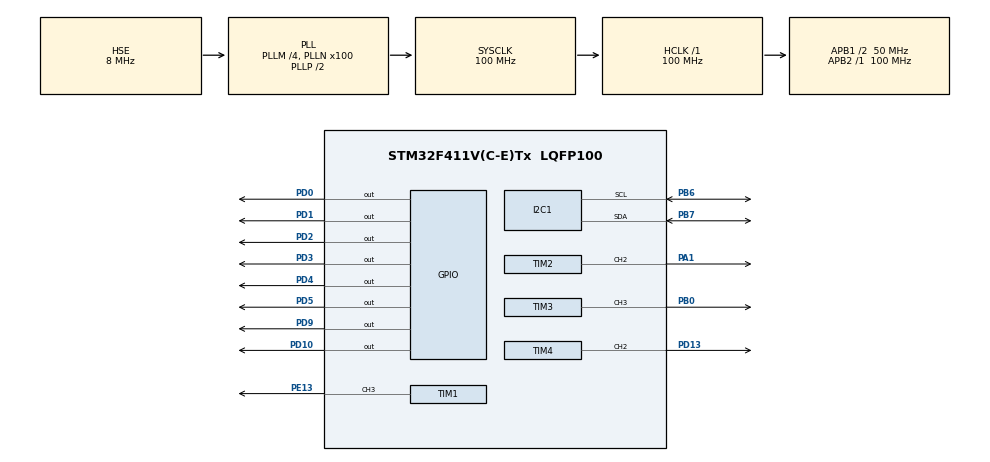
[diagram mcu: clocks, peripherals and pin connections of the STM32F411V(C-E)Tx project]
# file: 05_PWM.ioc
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Dma.Request0=TIM4_CH2
Dma.Request1=TIM1_CH3
Dma.Request2=TIM2_CH2/CH4
Dma.Request3=TIM3_CH3
Dma.TIM1_CH3.1.Direction=DMA_MEMORY_TO_PERIPH
Dma.TIM1_CH3.1.FIFOMode=DMA_FIFOMODE_DISABLE
Dma.TIM1_CH3.1.Instance=DMA2_Stream6
Dma.TIM1_CH3.1.MemDataAlignment=DMA_MDATAALIGN_HALFWORD
Dma.TIM1_CH3.1.MemInc=DMA_MINC_ENABLE
Dma.TIM1_CH3.1.Mode=DMA_CIRCULAR
Dma.TIM1_CH3.1.PeriphDataAlignment=DMA_PDATAALIGN_HALFWORD
Dma.TIM1_CH3.1.PeriphInc=DMA_PINC_DISABLE
Dma.TIM1_CH3.1.Priority=DMA_PRIORITY_LOW
Dma.TIM2_CH2/CH4.2.Direction=DMA_MEMORY_TO_PERIPH
Dma.TIM2_CH2/CH4.2.FIFOMode=DMA_FIFOMODE_DISABLE
Dma.TIM2_CH2/CH4.2.Instance=DMA1_Stream6
Dma.TIM2_CH2/CH4.2.MemDataAlignment=DMA_MDATAALIGN_WORD
Dma.TIM2_CH2/CH4.2.MemInc=DMA_MINC_ENABLE
Dma.TIM2_CH2/CH4.2.Mode=DMA_CIRCULAR
Dma.TIM2_CH2/CH4.2.PeriphDataAlignment=DMA_PDATAALIGN_WORD
Dma.TIM2_CH2/CH4.2.PeriphInc=DMA_PINC_DISABLE
Dma.TIM2_CH2/CH4.2.Priority=DMA_PRIORITY_LOW
Dma.TIM3_CH3.3.Direction=DMA_MEMORY_TO_PERIPH
Dma.TIM3_CH3.3.FIFOMode=DMA_FIFOMODE_DISABLE
Dma.TIM3_CH3.3.Instance=DMA1_Stream7
Dma.TIM3_CH3.3.MemDataAlignment=DMA_MDATAALIGN_HALFWORD
Dma.TIM3_CH3.3.MemInc=DMA_MINC_ENABLE
Dma.TIM3_CH3.3.Mode=DMA_NORMAL
Dma.TIM3_CH3.3.PeriphDataAlignment=DMA_PDATAALIGN_HALFWORD
Dma.TIM3_CH3.3.PeriphInc=DMA_PINC_DISABLE
Dma.TIM3_CH3.3.Priority=DMA_PRIORITY_LOW
Dma.TIM4_CH2.0.Direction=DMA_MEMORY_TO_PERIPH
Dma.TIM4_CH2.0.FIFOMode=DMA_FIFOMODE_DISABLE
Dma.TIM4_CH2.0.Instance=DMA1_Stream3
Dma.TIM4_CH2.0.MemDataAlignment=DMA_MDATAALIGN_HALFWORD
Dma.TIM4_CH2.0.MemInc=DMA_MINC_ENABLE
Dma.TIM4_CH2.0.Mode=DMA_CIRCULAR
Dma.TIM4_CH2.0.PeriphDataAlignment=DMA_PDATAALIGN_HALFWORD
Dma.TIM4_CH2.0.PeriphInc=DMA_PINC_DISABLE
Dma.TIM4_CH2.0.Priority=DMA_PRIORITY_LOW
I2C1.I2C_Mode=I2C_Standard
I2C1.OwnAddress=0x36
Mcu.Family=STM32F4
Mcu.Name=STM32F411V(C-E)Tx
Mcu.Package=LQFP100
NVIC.DMA1_Stream3_IRQn=true\:0\:0\:false\:false\:true\:false\:true
NVIC.DMA1_Stream6_IRQn=true\:0\:0\:false\:false\:true\:false\:true
NVIC.DMA1_Stream7_IRQn=true\:0\:0\:false\:false\:true\:false\:true
NVIC.DMA2_Stream6_IRQn=true\:0\:0\:false\:false\:true\:false\:true
NVIC.PriorityGroup=NVIC_PRIORITYGROUP_4
NVIC.TIM1_UP_TIM10_IRQn=true\:0\:0\:false\:false\:true\:true\:true
NVIC.TIM4_IRQn=true\:0\:0\:false\:false\:true\:true\:true
PA1.Signal=S_TIM2_CH2
PB0.Signal=S_TIM3_CH3
PB6.Mode=I2C
PB6.Signal=I2C1_SCL
PB7.Mode=I2C
PB7.Signal=I2C1_SDA
PD0.Signal=GPIO_Output
PD1.Signal=GPIO_Output
PD10.Signal=GPIO_Output
PD13.Signal=S_TIM4_CH2
PD2.Signal=GPIO_Output
PD3.Signal=GPIO_Output
PD4.Signal=GPIO_Output
PD5.Signal=GPIO_Output
PD9.Signal=GPIO_Output
PE13.Signal=S_TIM1_CH3
PH0\ -\ OSC_IN.Mode=HSE-External-Oscillator
PH0\ -\ OSC_IN.Signal=RCC_OSC_IN
PH1\ -\ OSC_OUT.Mode=HSE-External-Oscillator
PH1\ -\ OSC_OUT.Signal=RCC_OSC_OUT
ProjectManager.HeapSize=0x200
ProjectManager.StackSize=0x400
ProjectManager.TargetToolchain=STM32CubeIDE
RCC.48MHZClocksFreq_Value=50000000
RCC.AHBFreq_Value=100000000
RCC.APB1CLKDivider=RCC_HCLK_DIV2
RCC.APB1Freq_Value=50000000
RCC.APB1TimFreq_Value=100000000
RCC.APB2Freq_Value=100000000
RCC.APB2TimFreq_Value=100000000
RCC.CortexFreq_Value=100000000
RCC.HCLKFreq_Value=100000000
RCC.HSE_VALUE=8000000
RCC.HSI_VALUE=16000000
RCC.LSE_VALUE=32768
RCC.PLLM=4
RCC.PLLN=100
RCC.PLLSourceVirtual=RCC_PLLSOURCE_HSE
RCC.SYSCLKFreq_VALUE=100000000
RCC.SYSCLKSource=RCC_SYSCLKSOURCE_PLLCLK
RCC.VCOOutputFreq_Value=200000000
SH.S_TIM1_CH3.0=TIM1_CH3,PWM Generation3 CH3
SH.S_TIM2_CH2.0=TIM2_CH2,PWM Generation2 CH2
SH.S_TIM3_CH3.0=TIM3_CH3,PWM Generation3 CH3
SH.S_TIM4_CH2.0=TIM4_CH2,PWM Generation2 CH2
TIM1.Channel-PWM\ Generation3\ CH3=TIM_CHANNEL_3
TIM1.Period=999
TIM1.Prescaler=999
TIM10.Period=99
TIM10.Prescaler=999
TIM2.Channel-PWM\ Generation2\ CH2=TIM_CHANNEL_2
TIM2.Period=999
TIM2.Prescaler=499
TIM3.Channel-PWM\ Generation3\ CH3=TIM_CHANNEL_3
TIM3.Period=999
TIM3.Prescaler=499
TIM4.Channel-PWM\ Generation2\ CH2=TIM_CHANNEL_2
TIM4.Period=999
TIM4.Prescaler=499
VP_TIM10_VS_ClockSourceINT.Mode=Enable_Timer
VP_TIM1_VS_ClockSourceINT.Mode=Internal
VP_TIM2_VS_ClockSourceINT.Mode=Internal
VP_TIM3_VS_ClockSourceINT.Mode=Internal
VP_TIM4_VS_ClockSourceINT.Mode=Internal
board=custom

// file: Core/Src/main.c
/* USER CODE BEGIN Header */
/**
  ******************************************************************************
  * @file           : main.c
  * @brief          : Main program body
  ******************************************************************************
  * @attention
  *
  * <h2><center>&copy; Copyright (c) 2021 STMicroelectronics.
  * All rights reserved.</center></h2>
  *
  * This software component is licensed by ST under BSD 3-Clause license,
  * the "License"; You may not use this file except in compliance with the
  * License. You may obtain a copy of the License at:
  *                        opensource.org/licenses/BSD-3-Clause
  *
  ******************************************************************************
  */
/* USER CODE END Header */
#include "main.h"

/* USER CODE BEGIN Includes */
#include "pid.h"
/* USER CODE END Includes */

/* USER CODE BEGIN PD */
# define Slave_Addr (0x36<<1)
# define Write_Bit 0
# define Read_Bit 1
# define Angle_Hight_Register_Addr 0x0C
# define Angle_Low_Register_Addr 0x0D

/* USER CODE END PD */

I2C_HandleTypeDef hi2c1;

TIM_HandleTypeDef htim1;
TIM_HandleTypeDef htim2;
TIM_HandleTypeDef htim3;
TIM_HandleTypeDef htim4;
TIM_HandleTypeDef htim10;
DMA_HandleTypeDef hdma_tim1_ch3;
DMA_HandleTypeDef hdma_tim2_ch2_ch4;
DMA_HandleTypeDef hdma_tim3_ch3;
DMA_HandleTypeDef hdma_tim4_ch2;

/* USER CODE BEGIN PV */
uint16_t Duty = 50; // Wypelnienie sygnalu PWM
uint8_t data [2];
uint16_t wynik;

//cpid_t pid;
/* USER CODE END PV */

void SystemClock_Config(void);
static void MX_GPIO_Init(void);
static void MX_DMA_Init(void);
static void MX_TIM4_Init(void);
static void MX_TIM10_Init(void);
static void MX_TIM1_Init(void);
static void MX_TIM2_Init(void);
static void MX_TIM3_Init(void);
static void MX_I2C1_Init(void);
/* USER CODE BEGIN PFP */

void STOP(){
	 HAL_GPIO_WritePin(GPIOD, GPIO_PIN_9, 0);
	 HAL_GPIO_WritePin(GPIOD, GPIO_PIN_10, 0);
	 HAL_GPIO_WritePin(GPIOD, GPIO_PIN_0, 0);
	 HAL_GPIO_WritePin(GPIOD, GPIO_PIN_1, 0);
	 HAL_GPIO_WritePin(GPIOD, GPIO_PIN_2, 0);
	 HAL_GPIO_WritePin(GPIOD, GPIO_PIN_3, 0);
	 HAL_GPIO_WritePin(GPIOD, GPIO_PIN_4, 0);
	 HAL_GPIO_WritePin(GPIOD, GPIO_PIN_5, 0);
}

void RUN1(){
	 HAL_GPIO_WritePin(GPIOD, GPIO_PIN_9, 0);
	  HAL_GPIO_WritePin(GPIOD, GPIO_PIN_10, 1);
	 HAL_GPIO_WritePin(GPIOD, GPIO_PIN_0, 0);
	 HAL_GPIO_WritePin(GPIOD, GPIO_PIN_1, 1);
	 HAL_GPIO_WritePin(GPIOD, GPIO_PIN_2, 0);
	 HAL_GPIO_WritePin(GPIOD, GPIO_PIN_3, 1);
	 HAL_GPIO_WritePin(GPIOD, GPIO_PIN_4, 0);
	 HAL_GPIO_WritePin(GPIOD, GPIO_PIN_5, 1);
}

void RUN2(){
	 HAL_GPIO_WritePin(GPIOD, GPIO_PIN_9, 1);
	 HAL_GPIO_WritePin(GPIOD, GPIO_PIN_10, 0);
	 HAL_GPIO_WritePin(GPIOD, GPIO_PIN_0, 1);
	 HAL_GPIO_WritePin(GPIOD, GPIO_PIN_1, 0);
	 HAL_GPIO_WritePin(GPIOD, GPIO_PIN_2, 1);
	 HAL_GPIO_WritePin(GPIOD, GPIO_PIN_3, 0);
	 HAL_GPIO_WritePin(GPIOD, GPIO_PIN_4, 1);
	 HAL_GPIO_WritePin(GPIOD, GPIO_PIN_5, 0);
}
/* USER CODE END PFP */

int main(void)
{

  /* MCU Configuration--------------------------------------------------------*/

  /* Reset of all peripherals, Initializes the Flash interface and the Systick. */
  HAL_Init();

  /* Configure the system clock */
  SystemClock_Config();

  /* Initialize all configured peripherals */
  MX_GPIO_Init();
  MX_DMA_Init();
  MX_TIM4_Init();
  MX_TIM10_Init();
  MX_TIM1_Init();
  MX_TIM2_Init();
  MX_TIM3_Init();
  MX_I2C1_Init();
  /* USER CODE BEGIN 2 */
  HAL_TIM_Base_Start_IT(&htim10);
  HAL_TIM_PWM_Start_DMA(&htim2, TIM_CHANNEL_2, &Duty, 1);
  HAL_TIM_PWM_Start_DMA(&htim1, TIM_CHANNEL_3, &Duty, 1);
  HAL_TIM_PWM_Start_DMA(&htim3, TIM_CHANNEL_3, &Duty, 1);
  HAL_TIM_PWM_Start_DMA(&htim4, TIM_CHANNEL_2, &Duty, 1);
/*
  pid_init(&pid, 2.0f, 5.0f, 2.0f, 10, 10);
  	pid.p_max = pid_scale(&pid, 999);
  	pid.p_min = pid_scale(&pid, -999);
  	pid.i_max = pid_scale(&pid, 999);
  	pid.i_min = pid_scale(&pid, -999);
  	pid.d_max = pid_scale(&pid, 999);
  	pid.d_min = pid_scale(&pid, -999);
  	pid.total_max = pid_scale(&pid, 999);
  	pid.total_min = pid_scale(&pid, 0);
*/
  	STOP();
  	HAL_Delay(1000);

  /* USER CODE END 2 */

  /* Infinite loop */
  /* USER CODE BEGIN WHILE */
  while (1)
  {

	  HAL_I2C_Mem_Read(&hi2c1, Slave_Addr, Angle_Hight_Register_Addr, 1, data, 2, 100);
	  wynik=data[0]<<8 | data[1];
	  //HAL_Delay(500);
	  //Duty = pid_calc(&pid, wynik, 1212);

if(wynik>1220 && wynik<1235){
Duty=700;
RUN1();
}
else if (wynik>=1235 && wynik<1475){
Duty=1000;
RUN1();
}
else if (wynik>=1475 && wynik<1600){
Duty=1000;
RUN1();
}
else if(wynik<1200 && wynik>1190){
Duty=700;
RUN2();
}
else if (wynik>940 && wynik<=1190){
Duty=1000;
RUN2();
}
else if (wynik>830 && wynik<=940){
Duty=1000;
RUN2();
}
else{
	STOP();
}

    /* USER CODE END WHILE */

  }
}

void SystemClock_Config(void)
{
  RCC_OscInitTypeDef RCC_OscInitStruct = {0};
  RCC_ClkInitTypeDef RCC_ClkInitStruct = {0};

  /** Configure the main internal regulator output voltage
  */
  __HAL_RCC_PWR_CLK_ENABLE();
  __HAL_PWR_VOLTAGESCALING_CONFIG(PWR_REGULATOR_VOLTAGE_SCALE1);
  /** Initializes the RCC Oscillators according to the specified parameters
  * in the RCC_OscInitTypeDef structure.
  */
  RCC_OscInitStruct.OscillatorType = RCC_OSCILLATORTYPE_HSE;
  RCC_OscInitStruct.HSEState = RCC_HSE_ON;
  RCC_OscInitStruct.PLL.PLLState = RCC_PLL_ON;
  RCC_OscInitStruct.PLL.PLLSource = RCC_PLLSOURCE_HSE;
  RCC_OscInitStruct.PLL.PLLM = 4;
  RCC_OscInitStruct.PLL.PLLN = 100;
  RCC_OscInitStruct.PLL.PLLP = RCC_PLLP_DIV2;
  RCC_OscInitStruct.PLL.PLLQ = 4;
  if (HAL_RCC_OscConfig(&RCC_OscInitStruct) != HAL_OK)
  {
    Error_Handler();
  }
  /** Initializes the CPU, AHB and APB buses clocks
  */
  RCC_ClkInitStruct.ClockType = RCC_CLOCKTYPE_HCLK|RCC_CLOCKTYPE_SYSCLK
                              |RCC_CLOCKTYPE_PCLK1|RCC_CLOCKTYPE_PCLK2;
  RCC_ClkInitStruct.SYSCLKSource = RCC_SYSCLKSOURCE_PLLCLK;
  RCC_ClkInitStruct.AHBCLKDivider = RCC_SYSCLK_DIV1;
  RCC_ClkInitStruct.APB1CLKDivider = RCC_HCLK_DIV2;
  RCC_ClkInitStruct.APB2CLKDivider = RCC_HCLK_DIV1;

  if (HAL_RCC_ClockConfig(&RCC_ClkInitStruct, FLASH_LATENCY_3) != HAL_OK)
  {
    Error_Handler();
  }
}

static void MX_I2C1_Init(void)
{

  hi2c1.Instance = I2C1;
  hi2c1.Init.ClockSpeed = 100000;
  hi2c1.Init.DutyCycle = I2C_DUTYCYCLE_2;
  hi2c1.Init.OwnAddress1 = 108;
  hi2c1.Init.AddressingMode = I2C_ADDRESSINGMODE_7BIT;
  hi2c1.Init.DualAddressMode = I2C_DUALADDRESS_DISABLE;
  hi2c1.Init.OwnAddress2 = 0;
  hi2c1.Init.GeneralCallMode = I2C_GENERALCALL_DISABLE;
  hi2c1.Init.NoStretchMode = I2C_NOSTRETCH_DISABLE;
  if (HAL_I2C_Init(&hi2c1) != HAL_OK)
  {
    Error_Handler();
  }

}

static void MX_TIM1_Init(void)
{

  TIM_ClockConfigTypeDef sClockSourceConfig = {0};
  TIM_MasterConfigTypeDef sMasterConfig = {0};
  TIM_OC_InitTypeDef sConfigOC = {0};
  TIM_BreakDeadTimeConfigTypeDef sBreakDeadTimeConfig = {0};

  htim1.Instance = TIM1;
  htim1.Init.Prescaler = 999;
  htim1.Init.CounterMode = TIM_COUNTERMODE_UP;
  htim1.Init.Period = 999;
  htim1.Init.ClockDivision = TIM_CLOCKDIVISION_DIV1;
  htim1.Init.RepetitionCounter = 0;
  htim1.Init.AutoReloadPreload = TIM_AUTORELOAD_PRELOAD_DISABLE;
  if (HAL_TIM_Base_Init(&htim1) != HAL_OK)
  {
    Error_Handler();
  }
  sClockSourceConfig.ClockSource = TIM_CLOCKSOURCE_INTERNAL;
  if (HAL_TIM_ConfigClockSource(&htim1, &sClockSourceConfig) != HAL_OK)
  {
    Error_Handler();
  }
  if (HAL_TIM_PWM_Init(&htim1) != HAL_OK)
  {
    Error_Handler();
  }
  sMasterConfig.MasterOutputTrigger = TIM_TRGO_RESET;
  sMasterConfig.MasterSlaveMode = TIM_MASTERSLAVEMODE_DISABLE;
  if (HAL_TIMEx_MasterConfigSynchronization(&htim1, &sMasterConfig) != HAL_OK)
  {
    Error_Handler();
  }
  sConfigOC.OCMode = TIM_OCMODE_PWM1;
  sConfigOC.Pulse = 0;
  sConfigOC.OCPolarity = TIM_OCPOLARITY_HIGH;
  sConfigOC.OCNPolarity = TIM_OCNPOLARITY_HIGH;
  sConfigOC.OCFastMode = TIM_OCFAST_DISABLE;
  sConfigOC.OCIdleState = TIM_OCIDLESTATE_RESET;
  sConfigOC.OCNIdleState = TIM_OCNIDLESTATE_RESET;
  if (HAL_TIM_PWM_ConfigChannel(&htim1, &sConfigOC, TIM_CHANNEL_3) != HAL_OK)
  {
    Error_Handler();
  }
  sBreakDeadTimeConfig.OffStateRunMode = TIM_OSSR_DISABLE;
  sBreakDeadTimeConfig.OffStateIDLEMode = TIM_OSSI_DISABLE;
  sBreakDeadTimeConfig.LockLevel = TIM_LOCKLEVEL_OFF;
  sBreakDeadTimeConfig.DeadTime = 0;
  sBreakDeadTimeConfig.BreakState = TIM_BREAK_DISABLE;
  sBreakDeadTimeConfig.BreakPolarity = TIM_BREAKPOLARITY_HIGH;
  sBreakDeadTimeConfig.AutomaticOutput = TIM_AUTOMATICOUTPUT_DISABLE;
  if (HAL_TIMEx_ConfigBreakDeadTime(&htim1, &sBreakDeadTimeConfig) != HAL_OK)
  {
    Error_Handler();
  }
  HAL_TIM_MspPostInit(&htim1);

}

static void MX_TIM2_Init(void)
{

  TIM_ClockConfigTypeDef sClockSourceConfig = {0};
  TIM_MasterConfigTypeDef sMasterConfig = {0};
  TIM_OC_InitTypeDef sConfigOC = {0};

  htim2.Instance = TIM2;
  htim2.Init.Prescaler = 499;
  htim2.Init.CounterMode = TIM_COUNTERMODE_UP;
  htim2.Init.Period = 999;
  htim2.Init.ClockDivision = TIM_CLOCKDIVISION_DIV1;
  htim2.Init.AutoReloadPreload = TIM_AUTORELOAD_PRELOAD_DISABLE;
  if (HAL_TIM_Base_Init(&htim2) != HAL_OK)
  {
    Error_Handler();
  }
  sClockSourceConfig.ClockSource = TIM_CLOCKSOURCE_INTERNAL;
  if (HAL_TIM_ConfigClockSource(&htim2, &sClockSourceConfig) != HAL_OK)
  {
    Error_Handler();
  }
  if (HAL_TIM_PWM_Init(&htim2) != HAL_OK)
  {
    Error_Handler();
  }
  sMasterConfig.MasterOutputTrigger = TIM_TRGO_RESET;
  sMasterConfig.MasterSlaveMode = TIM_MASTERSLAVEMODE_DISABLE;
  if (HAL_TIMEx_MasterConfigSynchronization(&htim2, &sMasterConfig) != HAL_OK)
  {
    Error_Handler();
  }
  sConfigOC.OCMode = TIM_OCMODE_PWM1;
  sConfigOC.Pulse = 0;
  sConfigOC.OCPolarity = TIM_OCPOLARITY_HIGH;
  sConfigOC.OCFastMode = TIM_OCFAST_DISABLE;
  if (HAL_TIM_PWM_ConfigChannel(&htim2, &sConfigOC, TIM_CHANNEL_2) != HAL_OK)
  {
    Error_Handler();
  }
  HAL_TIM_MspPostInit(&htim2);

}

static void MX_TIM3_Init(void)
{

  TIM_ClockConfigTypeDef sClockSourceConfig = {0};
  TIM_MasterConfigTypeDef sMasterConfig = {0};
  TIM_OC_InitTypeDef sConfigOC = {0};

  htim3.Instance = TIM3;
  htim3.Init.Prescaler = 499;
  htim3.Init.CounterMode = TIM_COUNTERMODE_UP;
  htim3.Init.Period = 999;
  htim3.Init.ClockDivision = TIM_CLOCKDIVISION_DIV1;
  htim3.Init.AutoReloadPreload = TIM_AUTORELOAD_PRELOAD_DISABLE;
  if (HAL_TIM_Base_Init(&htim3) != HAL_OK)
  {
    Error_Handler();
  }
  sClockSourceConfig.ClockSource = TIM_CLOCKSOURCE_INTERNAL;
  if (HAL_TIM_ConfigClockSource(&htim3, &sClockSourceConfig) != HAL_OK)
  {
    Error_Handler();
  }
  if (HAL_TIM_PWM_Init(&htim3) != HAL_OK)
  {
    Error_Handler();
  }
  sMasterConfig.MasterOutputTrigger = TIM_TRGO_RESET;
  sMasterConfig.MasterSlaveMode = TIM_MASTERSLAVEMODE_DISABLE;
  if (HAL_TIMEx_MasterConfigSynchronization(&htim3, &sMasterConfig) != HAL_OK)
  {
    Error_Handler();
  }
  sConfigOC.OCMode = TIM_OCMODE_PWM1;
  sConfigOC.Pulse = 0;
  sConfigOC.OCPolarity = TIM_OCPOLARITY_HIGH;
  sConfigOC.OCFastMode = TIM_OCFAST_DISABLE;
  if (HAL_TIM_PWM_ConfigChannel(&htim3, &sConfigOC, TIM_CHANNEL_3) != HAL_OK)
  {
    Error_Handler();
  }
  HAL_TIM_MspPostInit(&htim3);

}

static void MX_TIM4_Init(void)
{

  TIM_ClockConfigTypeDef sClockSourceConfig = {0};
  TIM_MasterConfigTypeDef sMasterConfig = {0};
  TIM_OC_InitTypeDef sConfigOC = {0};

  htim4.Instance = TIM4;
  htim4.Init.Prescaler = 499;
  htim4.Init.CounterMode = TIM_COUNTERMODE_UP;
  htim4.Init.Period = 999;
  htim4.Init.ClockDivision = TIM_CLOCKDIVISION_DIV1;
  htim4.Init.AutoReloadPreload = TIM_AUTORELOAD_PRELOAD_DISABLE;
  if (HAL_TIM_Base_Init(&htim4) != HAL_OK)
  {
    Error_Handler();
  }
  sClockSourceConfig.ClockSource = TIM_CLOCKSOURCE_INTERNAL;
  if (HAL_TIM_ConfigClockSource(&htim4, &sClockSourceConfig) != HAL_OK)
  {
    Error_Handler();
  }
  if (HAL_TIM_PWM_Init(&htim4) != HAL_OK)
  {
    Error_Handler();
  }
  sMasterConfig.MasterOutputTrigger = TIM_TRGO_RESET;
  sMasterConfig.MasterSlaveMode = TIM_MASTERSLAVEMODE_DISABLE;
  if (HAL_TIMEx_MasterConfigSynchronization(&htim4, &sMasterConfig) != HAL_OK)
  {
    Error_Handler();
  }
  sConfigOC.OCMode = TIM_OCMODE_PWM1;
  sConfigOC.Pulse = 0;
  sConfigOC.OCPolarity = TIM_OCPOLARITY_HIGH;
  sConfigOC.OCFastMode = TIM_OCFAST_DISABLE;
  if (HAL_TIM_PWM_ConfigChannel(&htim4, &sConfigOC, TIM_CHANNEL_2) != HAL_OK)
  {
    Error_Handler();
  }
  HAL_TIM_MspPostInit(&htim4);

}

static void MX_TIM10_Init(void)
{

  htim10.Instance = TIM10;
  htim10.Init.Prescaler = 999;
  htim10.Init.CounterMode = TIM_COUNTERMODE_UP;
  htim10.Init.Period = 99;
  htim10.Init.ClockDivision = TIM_CLOCKDIVISION_DIV1;
  htim10.Init.AutoReloadPreload = TIM_AUTORELOAD_PRELOAD_DISABLE;
  if (HAL_TIM_Base_Init(&htim10) != HAL_OK)
  {
    Error_Handler();
  }

}

static void MX_DMA_Init(void)
{

  /* DMA controller clock enable */
  __HAL_RCC_DMA1_CLK_ENABLE();
  __HAL_RCC_DMA2_CLK_ENABLE();

  /* DMA interrupt init */
  /* DMA1_Stream3_IRQn interrupt configuration */
  HAL_NVIC_SetPriority(DMA1_Stream3_IRQn, 0, 0);
  HAL_NVIC_EnableIRQ(DMA1_Stream3_IRQn);
  /* DMA1_Stream6_IRQn interrupt configuration */
  HAL_NVIC_SetPriority(DMA1_Stream6_IRQn, 0, 0);
  HAL_NVIC_EnableIRQ(DMA1_Stream6_IRQn);
  /* DMA1_Stream7_IRQn interrupt configuration */
  HAL_NVIC_SetPriority(DMA1_Stream7_IRQn, 0, 0);
  HAL_NVIC_EnableIRQ(DMA1_Stream7_IRQn);
  /* DMA2_Stream6_IRQn interrupt configuration */
  HAL_NVIC_SetPriority(DMA2_Stream6_IRQn, 0, 0);
  HAL_NVIC_EnableIRQ(DMA2_Stream6_IRQn);

}

static void MX_GPIO_Init(void)
{
  GPIO_InitTypeDef GPIO_InitStruct = {0};

  /* GPIO Ports Clock Enable */
  __HAL_RCC_GPIOH_CLK_ENABLE();
  __HAL_RCC_GPIOA_CLK_ENABLE();
  __HAL_RCC_GPIOB_CLK_ENABLE();
  __HAL_RCC_GPIOE_CLK_ENABLE();
  __HAL_RCC_GPIOD_CLK_ENABLE();

  /*Configure GPIO pin Output Level */
  HAL_GPIO_WritePin(GPIOD, GPIO_PIN_9|GPIO_PIN_10|GPIO_PIN_0|GPIO_PIN_1
                          |GPIO_PIN_2|GPIO_PIN_3|GPIO_PIN_4|GPIO_PIN_5, GPIO_PIN_RESET);

  /*Configure GPIO pins : PD9 PD10 PD0 PD1
                           PD2 PD3 PD4 PD5 */
  GPIO_InitStruct.Pin = GPIO_PIN_9|GPIO_PIN_10|GPIO_PIN_0|GPIO_PIN_1
                          |GPIO_PIN_2|GPIO_PIN_3|GPIO_PIN_4|GPIO_PIN_5;
  GPIO_InitStruct.Mode = GPIO_MODE_OUTPUT_PP;
  GPIO_InitStruct.Pull = GPIO_NOPULL;
  GPIO_InitStruct.Speed = GPIO_SPEED_FREQ_LOW;
  HAL_GPIO_Init(GPIOD, &GPIO_InitStruct);

}

void Error_Handler(void)
{
  __disable_irq();
  while (1)
  {
  }
}

/************************ (C) COPYRIGHT STMicroelectronics *****END OF FILE****/
